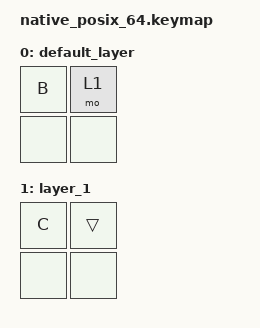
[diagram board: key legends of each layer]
#include <dt-bindings/zmk/keys.h>
#include <behaviors.dtsi>
#include <dt-bindings/zmk/kscan_mock.h>
#include "../behavior_keymap.dtsi"

/ {
    keymap {
        compatible = "zmk,keymap";
        label ="Default keymap";

        default_layer {
            bindings = <
                &kp B &mo 1
                &none &none>;
        };

        layer_1 {
            bindings = <
                &kp C &trans
                &none &none>;
        };
    };
};

&kscan {
    events = <
        ZMK_MOCK_PRESS(0,1,10)
        ZMK_MOCK_PRESS(0,0,10)
        ZMK_MOCK_RELEASE(0,0,10)
        ZMK_MOCK_RELEASE(0,1,10)
    >;
};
